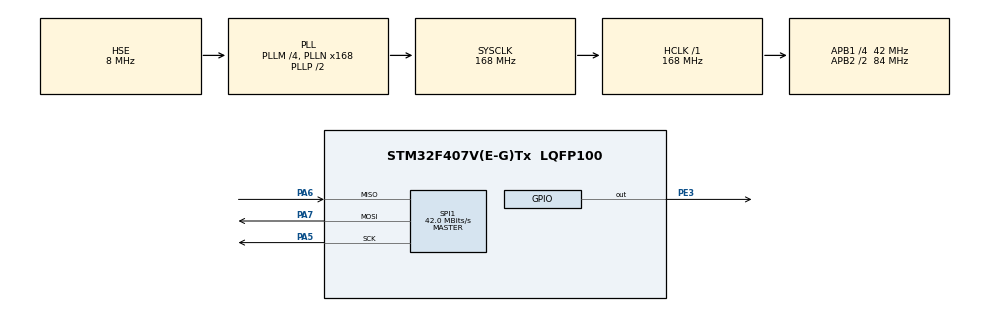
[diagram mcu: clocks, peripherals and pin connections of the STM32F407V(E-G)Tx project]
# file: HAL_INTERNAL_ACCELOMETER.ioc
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Mcu.Family=STM32F4
Mcu.Name=STM32F407V(E-G)Tx
Mcu.Package=LQFP100
NVIC.PriorityGroup=NVIC_PRIORITYGROUP_4
PA5.Mode=Full_Duplex_Master
PA5.Signal=SPI1_SCK
PA6.Mode=Full_Duplex_Master
PA6.Signal=SPI1_MISO
PA7.Mode=Full_Duplex_Master
PA7.Signal=SPI1_MOSI
PE3.GPIO_Speed=GPIO_SPEED_FREQ_VERY_HIGH
PE3.Signal=GPIO_Output
PH0-OSC_IN.Mode=HSE-External-Oscillator
PH0-OSC_IN.Signal=RCC_OSC_IN
PH1-OSC_OUT.Mode=HSE-External-Oscillator
PH1-OSC_OUT.Signal=RCC_OSC_OUT
ProjectManager.HeapSize=0x200
ProjectManager.StackSize=0x400
ProjectManager.TargetToolchain=STM32CubeIDE
RCC.48MHZClocksFreq_Value=84000000
RCC.AHBFreq_Value=168000000
RCC.APB1CLKDivider=RCC_HCLK_DIV4
RCC.APB1Freq_Value=42000000
RCC.APB1TimFreq_Value=84000000
RCC.APB2CLKDivider=RCC_HCLK_DIV2
RCC.APB2Freq_Value=84000000
RCC.APB2TimFreq_Value=168000000
RCC.CortexFreq_Value=168000000
RCC.HCLKFreq_Value=168000000
RCC.HSE_VALUE=8000000
RCC.HSI_VALUE=16000000
RCC.LSE_VALUE=32768
RCC.PLLM=4
RCC.PLLN=168
RCC.PLLSourceVirtual=RCC_PLLSOURCE_HSE
RCC.SYSCLKFreq_VALUE=168000000
RCC.SYSCLKSource=RCC_SYSCLKSOURCE_PLLCLK
RCC.VCOOutputFreq_Value=336000000
SPI1.CLKPhase=SPI_PHASE_2EDGE
SPI1.CLKPolarity=SPI_POLARITY_HIGH
SPI1.CalculateBaudRate=42.0 MBits/s
SPI1.Direction=SPI_DIRECTION_2LINES
SPI1.Mode=SPI_MODE_MASTER
SPI1.VirtualType=VM_MASTER
board=custom

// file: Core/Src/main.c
/* USER CODE BEGIN Header */
/**
  ******************************************************************************
  * @file           : main.c
  * @brief          : Main program body
  ******************************************************************************
  * @attention
  *
  * Copyright (c) 2024 STMicroelectronics.
  * All rights reserved.
  *
  * This software is licensed under terms that can be found in the LICENSE file
  * in the root directory of this software component.
  * If no LICENSE file comes with this software, it is provided AS-IS.
  *
  ******************************************************************************
  */
/* USER CODE END Header */
#include "main.h"

SPI_HandleTypeDef hspi1;

void SystemClock_Config(void);
static void MX_GPIO_Init(void);
static void MX_SPI1_Init(void);

/* USER CODE BEGIN 0 */
uint8_t x_address=0x29, y_address=0x2B, z_adress=0X2D; //x,y,z data addresses
uint8_t x,y,z; //variables to hold x,y,z values
void spi_write(uint8_t address, uint8_t data)
{

	HAL_GPIO_WritePin(GPIOE, GPIO_PIN_3, GPIO_PIN_RESET); //spi communication is started when enable pin is set
	HAL_SPI_Transmit(&hspi1, &address, 1, 50); //the register address is sent
	HAL_SPI_Transmit(&hspi1, &data, 1, 50); //the data that will written on the register whose address is given in previous row
	HAL_GPIO_WritePin(GPIOE, GPIO_PIN_3, GPIO_PIN_SET); //spi communication is finalized
}

uint8_t spi_read(uint8_t address, uint8_t data)
{
	uint8_t returned_data=0; //local variable to return value
	address=address|0x80; //it starts read mode
	HAL_GPIO_WritePin(GPIOE, GPIO_PIN_3, GPIO_PIN_RESET);//spi communication is started
	HAL_SPI_Transmit(&hspi1, &address, 1, 50); //the related register address is sent
	HAL_SPI_Receive(&hspi1, &returned_data, 1, 50); //the data is taken from the register whose address is sent
	HAL_SPI_Transmit(&hspi1, &data, 1, 50); //new data is sent
	HAL_GPIO_WritePin(GPIOE, GPIO_PIN_3, GPIO_PIN_SET); //spi communication is finalized
	return returned_data;
}
/* USER CODE END 0 */

int main(void)
{

  /* MCU Configuration--------------------------------------------------------*/

  /* Reset of all peripherals, Initializes the Flash interface and the Systick. */
  HAL_Init();

  /* Configure the system clock */
  SystemClock_Config();

  /* Initialize all configured peripherals */
  MX_GPIO_Init();
  MX_SPI1_Init();
  /* USER CODE BEGIN 2 */
  spi_write(0x20, 0x67); //control register address and control data for control parameters
  spi_write(0x24, 0x18); //control register address and control data for control parameters
  /* USER CODE END 2 */

  /* Infinite loop */
  while (1)
  {

    /* USER CODE BEGIN 3 */
	  x=spi_read(x_address, 0x00); //0x00 is sent to reset the x value for continious measurement
	  y=spi_read(y_address, 0x00);
	  z=spi_read(z_adress, 0x00);
  }
  /* USER CODE END 3 */
}

void SystemClock_Config(void)
{
  RCC_OscInitTypeDef RCC_OscInitStruct = {0};
  RCC_ClkInitTypeDef RCC_ClkInitStruct = {0};

  /** Configure the main internal regulator output voltage
  */
  __HAL_RCC_PWR_CLK_ENABLE();
  __HAL_PWR_VOLTAGESCALING_CONFIG(PWR_REGULATOR_VOLTAGE_SCALE1);

  /** Initializes the RCC Oscillators according to the specified parameters
  * in the RCC_OscInitTypeDef structure.
  */
  RCC_OscInitStruct.OscillatorType = RCC_OSCILLATORTYPE_HSE;
  RCC_OscInitStruct.HSEState = RCC_HSE_ON;
  RCC_OscInitStruct.PLL.PLLState = RCC_PLL_ON;
  RCC_OscInitStruct.PLL.PLLSource = RCC_PLLSOURCE_HSE;
  RCC_OscInitStruct.PLL.PLLM = 4;
  RCC_OscInitStruct.PLL.PLLN = 168;
  RCC_OscInitStruct.PLL.PLLP = RCC_PLLP_DIV2;
  RCC_OscInitStruct.PLL.PLLQ = 4;
  if (HAL_RCC_OscConfig(&RCC_OscInitStruct) != HAL_OK)
  {
    Error_Handler();
  }

  /** Initializes the CPU, AHB and APB buses clocks
  */
  RCC_ClkInitStruct.ClockType = RCC_CLOCKTYPE_HCLK|RCC_CLOCKTYPE_SYSCLK
                              |RCC_CLOCKTYPE_PCLK1|RCC_CLOCKTYPE_PCLK2;
  RCC_ClkInitStruct.SYSCLKSource = RCC_SYSCLKSOURCE_PLLCLK;
  RCC_ClkInitStruct.AHBCLKDivider = RCC_SYSCLK_DIV1;
  RCC_ClkInitStruct.APB1CLKDivider = RCC_HCLK_DIV4;
  RCC_ClkInitStruct.APB2CLKDivider = RCC_HCLK_DIV2;

  if (HAL_RCC_ClockConfig(&RCC_ClkInitStruct, FLASH_LATENCY_5) != HAL_OK)
  {
    Error_Handler();
  }
}

static void MX_SPI1_Init(void)
{

  /* SPI1 parameter configuration*/
  hspi1.Instance = SPI1;
  hspi1.Init.Mode = SPI_MODE_MASTER;
  hspi1.Init.Direction = SPI_DIRECTION_2LINES;
  hspi1.Init.DataSize = SPI_DATASIZE_8BIT;
  hspi1.Init.CLKPolarity = SPI_POLARITY_HIGH;
  hspi1.Init.CLKPhase = SPI_PHASE_2EDGE;
  hspi1.Init.NSS = SPI_NSS_SOFT;
  hspi1.Init.BaudRatePrescaler = SPI_BAUDRATEPRESCALER_2;
  hspi1.Init.FirstBit = SPI_FIRSTBIT_MSB;
  hspi1.Init.TIMode = SPI_TIMODE_DISABLE;
  hspi1.Init.CRCCalculation = SPI_CRCCALCULATION_DISABLE;
  hspi1.Init.CRCPolynomial = 10;
  if (HAL_SPI_Init(&hspi1) != HAL_OK)
  {
    Error_Handler();
  }

}

static void MX_GPIO_Init(void)
{
  GPIO_InitTypeDef GPIO_InitStruct = {0};

  /* GPIO Ports Clock Enable */
  __HAL_RCC_GPIOE_CLK_ENABLE();
  __HAL_RCC_GPIOH_CLK_ENABLE();
  __HAL_RCC_GPIOA_CLK_ENABLE();

  /*Configure GPIO pin Output Level */
  HAL_GPIO_WritePin(GPIOE, GPIO_PIN_3, GPIO_PIN_RESET);

  /*Configure GPIO pin : PE3 */
  GPIO_InitStruct.Pin = GPIO_PIN_3;
  GPIO_InitStruct.Mode = GPIO_MODE_OUTPUT_PP;
  GPIO_InitStruct.Pull = GPIO_NOPULL;
  GPIO_InitStruct.Speed = GPIO_SPEED_FREQ_VERY_HIGH;
  HAL_GPIO_Init(GPIOE, &GPIO_InitStruct);

}

void Error_Handler(void)
{
  __disable_irq();
  while (1)
  {
  }
}
